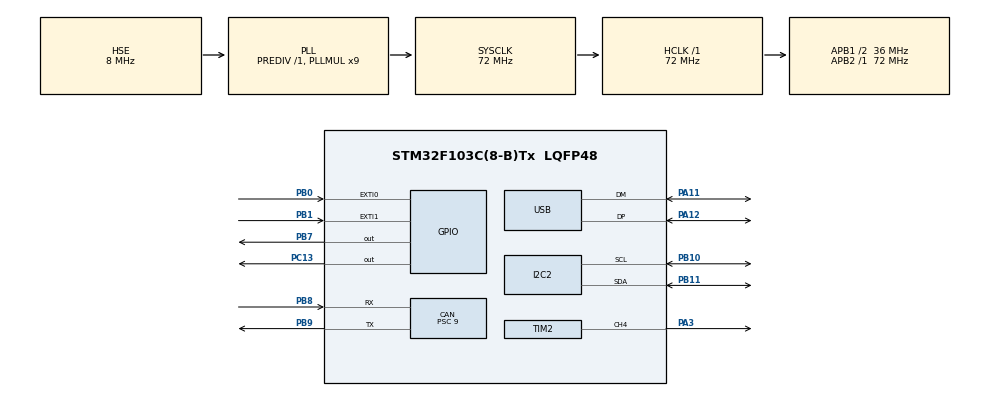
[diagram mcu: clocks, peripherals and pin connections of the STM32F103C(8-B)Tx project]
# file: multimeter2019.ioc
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CAN.ABOM=ENABLE
CAN.AWUM=ENABLE
CAN.BS1=CAN_BS1_6TQ
CAN.CalculateTimeBit=2000
CAN.CalculateTimeQuantum=250.0
CAN.Mode=CAN_MODE_NORMAL
CAN.Prescaler=9
CAN.TXFP=DISABLE
I2C2.I2C_Mode=I2C_Fast
Mcu.Family=STM32F1
Mcu.Name=STM32F103C(8-B)Tx
Mcu.Package=LQFP48
NVIC.CAN1_RX1_IRQn=true\:0\:0\:false\:false\:true\:true\:true
NVIC.CAN1_SCE_IRQn=true\:0\:0\:false\:false\:true\:true\:true
NVIC.EXTI1_IRQn=true\:0\:0\:false\:false\:true\:true\:true
NVIC.I2C2_ER_IRQn=true\:0\:0\:false\:false\:true\:true\:true
NVIC.I2C2_EV_IRQn=true\:0\:0\:false\:false\:true\:true\:true
NVIC.PriorityGroup=NVIC_PRIORITYGROUP_4
NVIC.TIM2_IRQn=true\:0\:0\:false\:false\:true\:true\:true
NVIC.TIM3_IRQn=true\:0\:0\:false\:false\:true\:true\:true
NVIC.TIM4_IRQn=true\:0\:0\:false\:false\:true\:true\:true
NVIC.USB_HP_CAN1_TX_IRQn=true\:0\:0\:false\:false\:true\:true\:true
NVIC.USB_LP_CAN1_RX0_IRQn=true\:0\:0\:false\:false\:true\:true\:true
PA11.Mode=Device
PA11.Signal=USB_DM
PA12.Mode=Device
PA12.Signal=USB_DP
PA13.Mode=Serial_Wire
PA13.Signal=SYS_JTMS-SWDIO
PA14.Mode=Serial_Wire
PA14.Signal=SYS_JTCK-SWCLK
PA3.Signal=S_TIM2_CH4
PB0.GPIO_ModeDefaultEXTI=GPIO_MODE_IT_RISING
PB0.Signal=GPXTI0
PB1.GPIO_ModeDefaultEXTI=GPIO_MODE_IT_RISING
PB1.Signal=GPXTI1
PB10.Mode=I2C
PB10.Signal=I2C2_SCL
PB11.Mode=I2C
PB11.Signal=I2C2_SDA
PB7.GPIO_ModeDefaultOutputPP=GPIO_MODE_OUTPUT_PP
PB7.GPIO_PuPd=GPIO_NOPULL
PB7.PinState=GPIO_PIN_SET
PB7.Signal=GPIO_Output
PB8.Mode=Master
PB8.Signal=CAN_RX
PB9.Mode=Master
PB9.Signal=CAN_TX
PC13-TAMPER-RTC.GPIO_ModeDefaultOutputPP=GPIO_MODE_OUTPUT_OD
PC13-TAMPER-RTC.Signal=GPIO_Output
PC14-OSC32_IN.Mode=LSE-External-Oscillator
PC14-OSC32_IN.Signal=RCC_OSC32_IN
PC15-OSC32_OUT.Mode=LSE-External-Oscillator
PC15-OSC32_OUT.Signal=RCC_OSC32_OUT
PD0-OSC_IN.Mode=HSE-External-Oscillator
PD0-OSC_IN.Signal=RCC_OSC_IN
PD1-OSC_OUT.Mode=HSE-External-Oscillator
PD1-OSC_OUT.Signal=RCC_OSC_OUT
ProjectManager.HeapSize=0x200
ProjectManager.StackSize=0x400
ProjectManager.TargetToolchain=Makefile
RCC.AHBFreq_Value=72000000
RCC.APB1CLKDivider=RCC_HCLK_DIV2
RCC.APB1Freq_Value=36000000
RCC.APB1TimFreq_Value=72000000
RCC.APB2Freq_Value=72000000
RCC.APB2TimFreq_Value=72000000
RCC.HCLKFreq_Value=72000000
RCC.PLLMUL=RCC_PLL_MUL9
RCC.PLLSourceVirtual=RCC_PLLSOURCE_HSE
RCC.SYSCLKFreq_VALUE=72000000
RCC.SYSCLKSource=RCC_SYSCLKSOURCE_PLLCLK
RCC.USBFreq_Value=48000000
RCC.USBPrescaler=RCC_USBCLKSOURCE_PLL_DIV1_5
SH.S_TIM2_CH4.0=TIM2_CH4,PWM Generation4 CH4
TIM2.AutoReloadPreload=TIM_AUTORELOAD_PRELOAD_ENABLE
TIM2.Channel-PWM\ Generation4\ CH4=TIM_CHANNEL_4
TIM2.Period=20
TIM2.Prescaler=1309
TIM2.Pulse-PWM\ Generation4\ CH4=24
TIM3.AutoReloadPreload=TIM_AUTORELOAD_PRELOAD_ENABLE
TIM3.ClockDivision=TIM_CLOCKDIVISION_DIV1
TIM3.Period=1999
TIM3.Prescaler=35999
TIM4.AutoReloadPreload=TIM_AUTORELOAD_PRELOAD_ENABLE
TIM4.Channel-PWM\ Generation1\ No\ Output=TIM_CHANNEL_1
TIM4.ClockDivision=TIM_CLOCKDIVISION_DIV1
TIM4.CounterMode=TIM_COUNTERMODE_UP
TIM4.OCPolarity_1=TIM_OCPOLARITY_HIGH
TIM4.Period=999
TIM4.Prescaler=239
TIM4.Pulse-PWM\ Generation1\ No\ Output=5
TIM4.TIM_MasterSlaveMode=TIM_MASTERSLAVEMODE_DISABLE
USB_DEVICE.CLASS_NAME_FS=CDC
USB_DEVICE.VirtualMode=Cdc
USB_DEVICE.VirtualModeFS=Cdc_FS
VP_TIM2_VS_ClockSourceINT.Mode=Internal
VP_TIM3_VS_ClockSourceINT.Mode=Internal
VP_TIM4_VS_ClockSourceINT.Mode=Internal
VP_TIM4_VS_no_output1.Mode=PWM Generation1 No Output
VP_USB_DEVICE_VS_USB_DEVICE_CDC_FS.Mode=CDC_FS
board=custom

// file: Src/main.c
/* USER CODE BEGIN Header */
/**
  ******************************************************************************
  * @file           : main.c
  * @brief          : Main program body
  ******************************************************************************
  * @attention
  *
  * <h2><center>&copy; Copyright (c) 2019 STMicroelectronics.
  * All rights reserved.</center></h2>
  *
  * This software component is licensed by ST under BSD 3-Clause license,
  * the "License"; You may not use this file except in compliance with the
  * License. You may obtain a copy of the License at:
  *                        opensource.org/licenses/BSD-3-Clause
  *
  ******************************************************************************
  */
/* USER CODE END Header */

#include "main.h"

/* USER CODE BEGIN Includes */
#include <string.h>
#include "stm32f1xx_hal.h"
#include "panel.h"
#include "can.h"
/* USER CODE END Includes */

CAN_HandleTypeDef hcan;

I2C_HandleTypeDef hi2c2;

TIM_HandleTypeDef htim2;
TIM_HandleTypeDef htim3;
TIM_HandleTypeDef htim4;

/* USER CODE BEGIN PV */
extern volatile uint32_t canReceiveElapsed;
/* USER CODE END PV */

void SystemClock_Config(void);
static void MX_GPIO_Init(void);
static void MX_I2C2_Init(void);
static void MX_TIM4_Init(void);
static void MX_CAN_Init(void);
static void MX_TIM2_Init(void);
static void MX_TIM3_Init(void);
/* USER CODE BEGIN PFP */
int decimaltosegment(uint16_t s, uint8_t *d);
/* USER CODE END PFP */

int main(void)
{

  /* MCU Configuration--------------------------------------------------------*/

  /* Reset of all peripherals, Initializes the Flash interface and the Systick. */
  HAL_Init();

  /* Configure the system clock */
  SystemClock_Config();

  /* Initialize all configured peripherals */
  MX_GPIO_Init();
  MX_I2C2_Init();
  MX_TIM4_Init();
  MX_CAN_Init();
  MX_TIM2_Init();
  MX_TIM3_Init();
  /* USER CODE BEGIN 2 */
  if (can_prepare(&hcan) != SUCCESS) {
    Error_Handler();
    return 1;
  }

  if (can_enable_interrupt(&hcan) != SUCCESS) {
    Error_Handler();
    return 1;
  }

  if (panel_initialize(&htim3,&htim4,&htim2,&hi2c2,0x40) != SUCCESS) {
    Error_Handler();
    return 1;
  }

  uint8_t seg[] =  {8,8,8,8};
  if (panel_setsegment(seg,0b01111111) != SUCCESS) {
    Error_Handler();
    return 1;
  }

  if (HAL_TIM_Base_Start_IT(&htim3)!=HAL_OK) {
    Error_Handler();
    return 1;
  }

  if (HAL_TIM_Base_Start_IT(&htim4)!=HAL_OK) {
    Error_Handler();
    return 1;
  }

  if (HAL_TIM_PWM_Start_IT(&htim4,TIM_CHANNEL_1)!=HAL_OK) {
    Error_Handler();
    return 1;
  }

  if (HAL_TIM_Base_Start_IT(&htim2)!=HAL_OK) {
    Error_Handler();
    return 1;
  }

  if (HAL_CAN_Start(&hcan)!=HAL_OK) {
    Error_Handler();
    return 1;
  }

  /* USER CODE END 2 */

  /* Infinite loop */
  /* USER CODE BEGIN WHILE */
  while (1)
  {
    if (canReceiveElapsed > 5000) {
      HAL_TIM_Base_MspDeInit(&htim2);
      HAL_TIM_Base_MspDeInit(&htim3);
      HAL_TIM_Base_MspDeInit(&htim4);
      HAL_NVIC_DisableIRQ(EXTI1_IRQn);
      panel_blank();
      HAL_CAN_RequestSleep(&hcan);
      HAL_GPIO_WritePin(GPIOB,GPIO_PIN_7,GPIO_PIN_RESET);
      canReceiveElapsed = 0;
      HAL_SuspendTick();
      HAL_PWR_EnterSLEEPMode(0,PWR_SLEEPENTRY_WFI);
    /* USER CODE END WHILE */

    /* USER CODE BEGIN 3 */
      HAL_ResumeTick();
      canReceiveElapsed = 0;
      HAL_GPIO_WritePin(GPIOB,GPIO_PIN_7,GPIO_PIN_SET);
      if (HAL_CAN_IsSleepActive(&hcan)) {
        break;
      }
      HAL_NVIC_EnableIRQ(EXTI1_IRQn);
      HAL_TIM_Base_MspInit(&htim4);
      HAL_TIM_Base_MspInit(&htim3);
      HAL_TIM_Base_MspInit(&htim2);
    }
  }
  /* USER CODE END 3 */
}

void SystemClock_Config(void)
{
  RCC_OscInitTypeDef RCC_OscInitStruct = {0};
  RCC_ClkInitTypeDef RCC_ClkInitStruct = {0};
  RCC_PeriphCLKInitTypeDef PeriphClkInit = {0};

  /** Initializes the CPU, AHB and APB busses clocks
  */
  RCC_OscInitStruct.OscillatorType = RCC_OSCILLATORTYPE_HSE;
  RCC_OscInitStruct.HSEState = RCC_HSE_ON;
  RCC_OscInitStruct.HSEPredivValue = RCC_HSE_PREDIV_DIV1;
  RCC_OscInitStruct.HSIState = RCC_HSI_ON;
  RCC_OscInitStruct.PLL.PLLState = RCC_PLL_ON;
  RCC_OscInitStruct.PLL.PLLSource = RCC_PLLSOURCE_HSE;
  RCC_OscInitStruct.PLL.PLLMUL = RCC_PLL_MUL9;
  if (HAL_RCC_OscConfig(&RCC_OscInitStruct) != HAL_OK)
  {
    Error_Handler();
  }
  /** Initializes the CPU, AHB and APB busses clocks
  */
  RCC_ClkInitStruct.ClockType = RCC_CLOCKTYPE_HCLK|RCC_CLOCKTYPE_SYSCLK
                              |RCC_CLOCKTYPE_PCLK1|RCC_CLOCKTYPE_PCLK2;
  RCC_ClkInitStruct.SYSCLKSource = RCC_SYSCLKSOURCE_PLLCLK;
  RCC_ClkInitStruct.AHBCLKDivider = RCC_SYSCLK_DIV1;
  RCC_ClkInitStruct.APB1CLKDivider = RCC_HCLK_DIV2;
  RCC_ClkInitStruct.APB2CLKDivider = RCC_HCLK_DIV1;

  if (HAL_RCC_ClockConfig(&RCC_ClkInitStruct, FLASH_LATENCY_2) != HAL_OK)
  {
    Error_Handler();
  }
  PeriphClkInit.PeriphClockSelection = RCC_PERIPHCLK_USB;
  PeriphClkInit.UsbClockSelection = RCC_USBCLKSOURCE_PLL_DIV1_5;
  if (HAL_RCCEx_PeriphCLKConfig(&PeriphClkInit) != HAL_OK)
  {
    Error_Handler();
  }
}

static void MX_CAN_Init(void)
{

  hcan.Instance = CAN1;
  hcan.Init.Prescaler = 9;
  hcan.Init.Mode = CAN_MODE_NORMAL;
  hcan.Init.SyncJumpWidth = CAN_SJW_1TQ;
  hcan.Init.TimeSeg1 = CAN_BS1_6TQ;
  hcan.Init.TimeSeg2 = CAN_BS2_1TQ;
  hcan.Init.TimeTriggeredMode = DISABLE;
  hcan.Init.AutoBusOff = ENABLE;
  hcan.Init.AutoWakeUp = ENABLE;
  hcan.Init.AutoRetransmission = DISABLE;
  hcan.Init.ReceiveFifoLocked = DISABLE;
  hcan.Init.TransmitFifoPriority = DISABLE;
  if (HAL_CAN_Init(&hcan) != HAL_OK)
  {
    Error_Handler();
  }

}

static void MX_I2C2_Init(void)
{

  hi2c2.Instance = I2C2;
  hi2c2.Init.ClockSpeed = 400000;
  hi2c2.Init.DutyCycle = I2C_DUTYCYCLE_2;
  hi2c2.Init.OwnAddress1 = 0;
  hi2c2.Init.AddressingMode = I2C_ADDRESSINGMODE_7BIT;
  hi2c2.Init.DualAddressMode = I2C_DUALADDRESS_DISABLE;
  hi2c2.Init.OwnAddress2 = 0;
  hi2c2.Init.GeneralCallMode = I2C_GENERALCALL_DISABLE;
  hi2c2.Init.NoStretchMode = I2C_NOSTRETCH_DISABLE;
  if (HAL_I2C_Init(&hi2c2) != HAL_OK)
  {
    Error_Handler();
  }

}

static void MX_TIM2_Init(void)
{

  TIM_ClockConfigTypeDef sClockSourceConfig = {0};
  TIM_MasterConfigTypeDef sMasterConfig = {0};
  TIM_OC_InitTypeDef sConfigOC = {0};

  //72000000/1310/21=2617.23009815Hz
  htim2.Instance = TIM2;
  htim2.Init.Prescaler = 1309;
  htim2.Init.CounterMode = TIM_COUNTERMODE_UP;
  htim2.Init.Period = 20;
  htim2.Init.ClockDivision = TIM_CLOCKDIVISION_DIV1;
  htim2.Init.AutoReloadPreload = TIM_AUTORELOAD_PRELOAD_ENABLE;
  if (HAL_TIM_Base_Init(&htim2) != HAL_OK)
  {
    Error_Handler();
  }
  sClockSourceConfig.ClockSource = TIM_CLOCKSOURCE_INTERNAL;
  if (HAL_TIM_ConfigClockSource(&htim2, &sClockSourceConfig) != HAL_OK)
  {
    Error_Handler();
  }
  if (HAL_TIM_PWM_Init(&htim2) != HAL_OK)
  {
    Error_Handler();
  }
  sMasterConfig.MasterOutputTrigger = TIM_TRGO_RESET;
  sMasterConfig.MasterSlaveMode = TIM_MASTERSLAVEMODE_DISABLE;
  if (HAL_TIMEx_MasterConfigSynchronization(&htim2, &sMasterConfig) != HAL_OK)
  {
    Error_Handler();
  }
  sConfigOC.OCMode = TIM_OCMODE_PWM1;
  sConfigOC.Pulse = 10; //PWM:=10pulse/20count
  sConfigOC.OCPolarity = TIM_OCPOLARITY_HIGH;
  sConfigOC.OCFastMode = TIM_OCFAST_DISABLE;
  if (HAL_TIM_PWM_ConfigChannel(&htim2, &sConfigOC, TIM_CHANNEL_4) != HAL_OK)
  {
    Error_Handler();
  }
  HAL_TIM_MspPostInit(&htim2);

}

static void MX_TIM3_Init(void)
{

  TIM_ClockConfigTypeDef sClockSourceConfig = {0};
  TIM_MasterConfigTypeDef sMasterConfig = {0};

  htim3.Instance = TIM3;
  htim3.Init.Prescaler = 35999;
  htim3.Init.CounterMode = TIM_COUNTERMODE_UP;
  htim3.Init.Period = 1999;
  htim3.Init.ClockDivision = TIM_CLOCKDIVISION_DIV1;
  htim3.Init.AutoReloadPreload = TIM_AUTORELOAD_PRELOAD_ENABLE;
  if (HAL_TIM_Base_Init(&htim3) != HAL_OK)
  {
    Error_Handler();
  }
  sClockSourceConfig.ClockSource = TIM_CLOCKSOURCE_INTERNAL;
  if (HAL_TIM_ConfigClockSource(&htim3, &sClockSourceConfig) != HAL_OK)
  {
    Error_Handler();
  }
  sMasterConfig.MasterOutputTrigger = TIM_TRGO_RESET;
  sMasterConfig.MasterSlaveMode = TIM_MASTERSLAVEMODE_DISABLE;
  if (HAL_TIMEx_MasterConfigSynchronization(&htim3, &sMasterConfig) != HAL_OK)
  {
    Error_Handler();
  }

}

static void MX_TIM4_Init(void)
{

  TIM_ClockConfigTypeDef sClockSourceConfig = {0};
  TIM_MasterConfigTypeDef sMasterConfig = {0};
  TIM_OC_InitTypeDef sConfigOC = {0};

  htim4.Instance = TIM4;
  htim4.Init.Prescaler = 239;
  htim4.Init.CounterMode = TIM_COUNTERMODE_UP;
  htim4.Init.Period = 999;
  htim4.Init.ClockDivision = TIM_CLOCKDIVISION_DIV1;
  htim4.Init.AutoReloadPreload = TIM_AUTORELOAD_PRELOAD_ENABLE;
  if (HAL_TIM_Base_Init(&htim4) != HAL_OK)
  {
    Error_Handler();
  }
  sClockSourceConfig.ClockSource = TIM_CLOCKSOURCE_INTERNAL;
  if (HAL_TIM_ConfigClockSource(&htim4, &sClockSourceConfig) != HAL_OK)
  {
    Error_Handler();
  }
  if (HAL_TIM_PWM_Init(&htim4) != HAL_OK)
  {
    Error_Handler();
  }
  sMasterConfig.MasterOutputTrigger = TIM_TRGO_RESET;
  sMasterConfig.MasterSlaveMode = TIM_MASTERSLAVEMODE_DISABLE;
  if (HAL_TIMEx_MasterConfigSynchronization(&htim4, &sMasterConfig) != HAL_OK)
  {
    Error_Handler();
  }
  sConfigOC.OCMode = TIM_OCMODE_PWM1;
  sConfigOC.Pulse = 5;
  sConfigOC.OCPolarity = TIM_OCPOLARITY_HIGH;
  sConfigOC.OCFastMode = TIM_OCFAST_DISABLE;
  if (HAL_TIM_PWM_ConfigChannel(&htim4, &sConfigOC, TIM_CHANNEL_1) != HAL_OK)
  {
    Error_Handler();
  }

}

static void MX_GPIO_Init(void)
{
  GPIO_InitTypeDef GPIO_InitStruct = {0};

  /* GPIO Ports Clock Enable */
  __HAL_RCC_GPIOC_CLK_ENABLE();
  __HAL_RCC_GPIOD_CLK_ENABLE();
  __HAL_RCC_GPIOA_CLK_ENABLE();
  __HAL_RCC_GPIOB_CLK_ENABLE();

  /*Configure GPIO pin Output Level */
  HAL_GPIO_WritePin(GPIOC, GPIO_PIN_13, GPIO_PIN_RESET);

  /*Configure GPIO pin Output Level */
  HAL_GPIO_WritePin(GPIOB, GPIO_PIN_7, GPIO_PIN_SET);

  /*Configure GPIO pin : PC13 */
  GPIO_InitStruct.Pin = GPIO_PIN_13;
  GPIO_InitStruct.Mode = GPIO_MODE_OUTPUT_OD;
  GPIO_InitStruct.Pull = GPIO_NOPULL;
  GPIO_InitStruct.Speed = GPIO_SPEED_FREQ_LOW;
  HAL_GPIO_Init(GPIOC, &GPIO_InitStruct);

  /*Configure GPIO pins : PB0 PB1 */
  GPIO_InitStruct.Pin = GPIO_PIN_0|GPIO_PIN_1;
  GPIO_InitStruct.Mode = GPIO_MODE_IT_RISING;
  GPIO_InitStruct.Pull = GPIO_NOPULL;
  HAL_GPIO_Init(GPIOB, &GPIO_InitStruct);

  /*Configure GPIO pin : PB7 */
  GPIO_InitStruct.Pin = GPIO_PIN_7;
  GPIO_InitStruct.Mode = GPIO_MODE_OUTPUT_PP;
  GPIO_InitStruct.Pull = GPIO_NOPULL;
  GPIO_InitStruct.Speed = GPIO_SPEED_FREQ_LOW;
  HAL_GPIO_Init(GPIOB, &GPIO_InitStruct);

  /* EXTI interrupt init*/
  HAL_NVIC_SetPriority(EXTI1_IRQn, 0, 0);
  HAL_NVIC_EnableIRQ(EXTI1_IRQn);

}

void Error_Handler(void)
{
}

/************************ (C) COPYRIGHT STMicroelectronics *****END OF FILE****/
